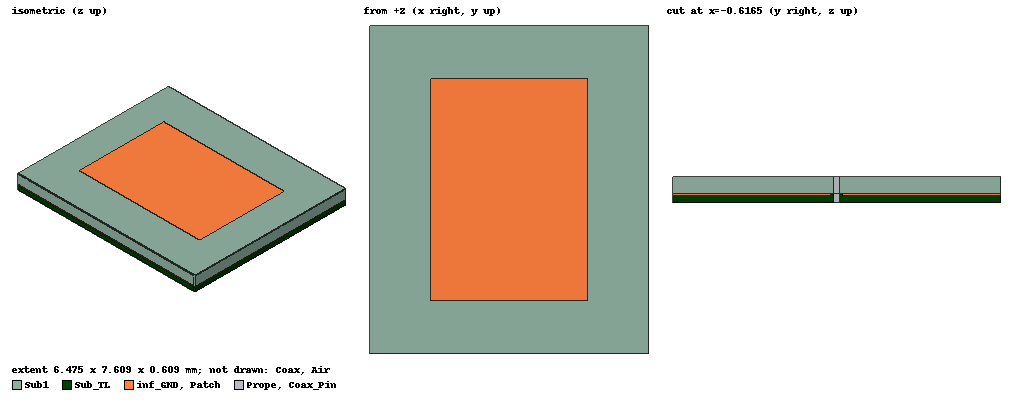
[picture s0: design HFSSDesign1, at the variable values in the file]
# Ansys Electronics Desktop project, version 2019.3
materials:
  vacuum: permittivity=1
  Rogers RT/duroid 5880 (tm): permittivity=2.2 dielectric_loss_tangent=0.0009
  pec: conductivity=1e+30
  Rogers RO4003 (tm): permittivity=3.55 dielectric_loss_tangent=0.0027

design HFSSDesign1 (HFSS, DrivenModal, model units mm)
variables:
  Lp = 3.633mm  # optimise 1.961496581mm..5.884489743mm
  Wp = 5.173mm  # optimise 2.538622579mm..7.615867737mm
  hs = 0.406mm
  Ws = 7.609mm
  Ls = 6.475mm
  xsub = -3.2375mm
  ysub = -3.8045mm
  xfeed = 1.2mm  # optimise 0.4620027115mm..1.3860081345mm
  rcoax = 0.14mm
  hcoax = 0.203mm
  rprope = 0.07mm
  Lair = 16.475mm
  Wair = 17.609mm
  xair = 8.2375mm
  yair = 8.8045mm
  hair = 5mm
  yfeed = 0mm
  xp = -1.8165mm
  yp = -2.5865mm
  hgnd = -0.032mm
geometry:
  Sub1 [Rogers RO4003 (tm)] = box(corner=(xsub, ysub, 0mm), size=(Ls, Ws, hs))
  Patch [Rogers RT/duroid 5880 (tm)] = rectangle(corner=(xp, yp, hs), x_size=Lp, y_size=Wp)
  Coax [vacuum] = cylinder(axis=Z, base_centre=(xp+xfeed, yfeed, 0mm), radius=rcoax, height=-hcoax)
  Coax_Pin [pec] = cylinder(axis=Z, base_centre=(xp+xfeed, yfeed, 0mm), radius=rprope, height=-hcoax)
  Prope [pec] = cylinder(axis=Z, base_centre=(xp+xfeed, yfeed, 0mm), radius=rprope, height=hs)
  Air [vacuum] = box(corner=(-xair, -yair, 0), size=(Lair, Wair, hair))
  inf_GND [pec] = box(corner=(xsub, ysub, 0mm), size=(Ls, Ws, hgnd))
  Cylinder_cut_1 = cylinder(axis=Z, base_centre=(xp+xfeed, yfeed, 0), radius=rcoax, height=hgnd)
  inf_GND.subtract(Cylinder_cut_1)
  Sub_TL [Rogers RO4003 (tm)] = box(corner=(xsub, ysub, 0mm), size=(Ls, Ws, -hcoax))
  Circle2 = circle(normal=Z, centre=(xfeed+xp, 0mm, -hcoax), radius=rcoax)
  group Input_feed1 = Coax, Coax_Pin, Prope
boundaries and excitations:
  PerfE_Patch: Perfect E Objects=Patch
  Rad1: Radiation Faces=Air.face(+x, +y, -y, -x, +z)
  1: Lumped Port Objects=Circle2 Modes{Mode1{IntLine{Circle2.vertex(1 of 1) -> middle of Circle2.edge(1 of 1)} CharImp=Zpi RenormImp=50ohm}} Impedance=50ohm
  reference conductors: inf_GND
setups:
  Setup1: HfssDriven Frequency=20GHz MaxDeltaS=0.02 MaximumPasses=18 MinimumPasses=1 MinimumConvergedPasses=1 PercentRefinement=30 BasisOrder=1 PortAccuracy=2
    sweep Sweep: 18GHz to 22GHz step 1GHz; Type=Fast SaveFields SaveRadFields GenerateFieldsForAllFreqs
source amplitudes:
  1:1: 1W 0deg
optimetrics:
  OptimizationSetup1: Optimization Optimizer="Quasi Newton" AnalysisStopOptions{StopForNumIteration MaxNumIteration=1000 MinNumIteration=10} CostFuncNormType=L2 Acceptable_Cost=0 Noise=0.0001 UpdateDesignWhenDone
    vary Lp: Min=1.961496581mm Max=5.884489743mm MinStep=0.039229932mm MaxStep=0.39229932mm MinFocus=1.961496581mm MaxFocus=5.884489743mm start=4mm
    vary xfeed: Min=0.46200271mm Max=1.3860081mm MinStep=0.0092400542mm MaxStep=0.092400542mm MinFocus=0.46200271mm MaxFocus=1.3860081mm start=0.915806943mm
    goal dB(S(1,1)) <= -15 weight 5 on Setup1 : Sweep at Freq 20GHz
    goal mag(Z(1,1)) >= 20 weight 1 on Setup1 : Sweep at Freq 20GHz
    goal mag(Z(1,1)) >= 50 weight 1 on Setup1 : Sweep at Freq 20GHz
  ParametricSetup1: Parametric Sim._Setups=[Setup1]
    sweep Lp: LIN 1mm 5mm 1mm
    sweep Wp: LIN 1mm 10mm 1mm
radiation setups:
  e_plane: Infinite Sphere Theta=-180deg..180deg step 2deg Phi=0deg..0deg step 1deg
  h_plane: Infinite Sphere Theta=-180deg..180deg step 2deg Phi=90deg..90deg step 1deg
  3d: Infinite Sphere Theta=-180deg..180deg step 2deg Phi=0deg..360deg step 2deg
  Infinite Sphere Rad: Infinite Sphere Theta=0deg..360deg step 10deg Phi=0deg..90deg step 90deg
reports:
  S Parameter Plot 1: dB(S(1,1)) vs Freq on Setup1 : Sweep
  3D Plor Gain: dB(GainTotal) vs Phi, Theta on Setup1 : LastAdaptive, 3d [Freq=20GHz]
  Radiation pattern  XZ: dB(GainTotal) vs Theta on Setup1 : LastAdaptive, Infinite Sphere Rad [Phi=0deg Freq=20GHz]; markers m1 at 360deg, m2 at 160deg
  Radiation pattern YZ: dB(GainTotal) vs Theta on Setup1 : LastAdaptive, Infinite Sphere Rad [Phi=90deg Freq=20GHz]; markers m1 at 360deg, m2 at 180deg
  CO Cross Polarized Fields at E-plane: dB(GainPhi), dB(GainTheta) vs Theta on Setup1 : LastAdaptive, Infinite Sphere Rad [Phi=0deg Freq=20GHz]; markers m1 at 360deg, m2 at 360deg
  CO Cross Polarized Fields at H-plane: dB(GainPhi), dB(GainTheta) vs Theta on Setup1 : LastAdaptive, Infinite Sphere Rad [Phi=90deg Freq=20GHz]; markers m1 at 360deg, m2 at 360deg
  Antenna Params Table 1: RadiationEfficiency, db(PeakGain) vs Freq on Setup1 : LastAdaptive
  Zin: re(Z(1,1)), mag(Z(1,1)) vs Freq on Setup1 : Sweep; markers MX1 at x=2.0001646e+10
